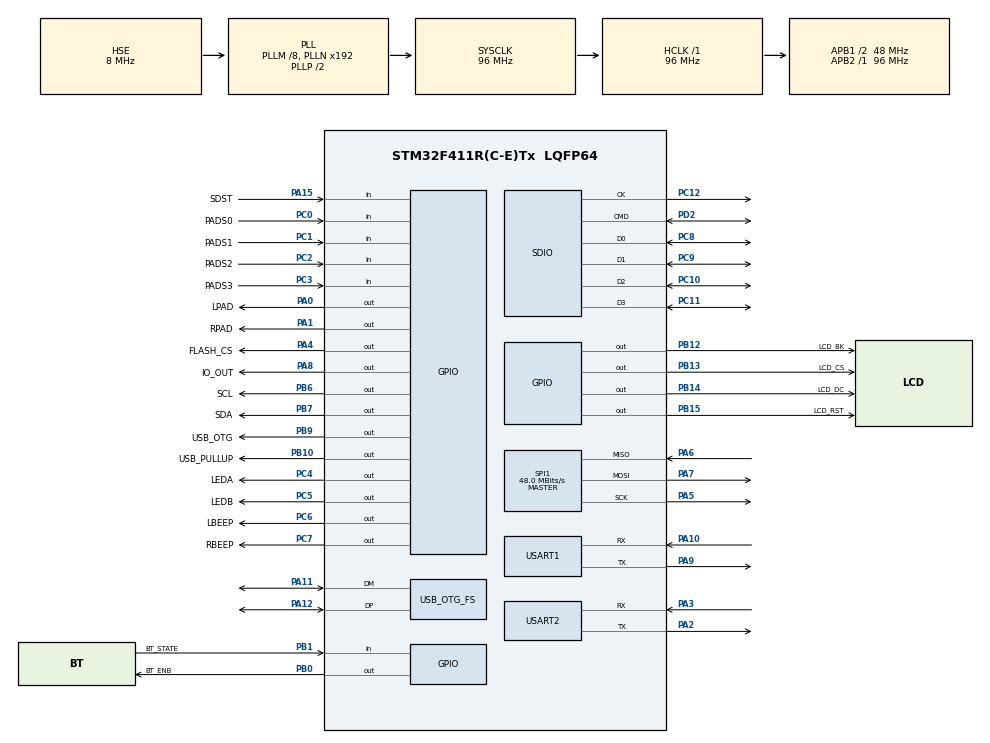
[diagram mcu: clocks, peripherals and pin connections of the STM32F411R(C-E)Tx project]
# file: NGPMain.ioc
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FATFS.BSP.number=1
FATFS0.BSP.STBoard=false
FATFS0.BSP.i2caddr=0
FATFS0.BSP.i2creg=0
FATFS0.BSP.instance=PA15
FATFS0.BSP.ip=GPIO
FATFS0.BSP.mode=Input
FATFS0.BSP.name=Detect_SDIO
Mcu.Family=STM32F4
Mcu.Name=STM32F411R(C-E)Tx
Mcu.Package=LQFP64
NVIC.OTG_FS_IRQn=true\:0\:0\:false\:false\:true
NVIC.PriorityGroup=NVIC_PRIORITYGROUP_4
NVIC.TIM1_UP_TIM10_IRQn=true\:0\:0\:false\:false\:true
PA0-WKUP.GPIO_Label=LPAD
PA0-WKUP.GPIO_Speed=GPIO_SPEED_FREQ_VERY_HIGH
PA0-WKUP.PinState=GPIO_PIN_RESET
PA0-WKUP.Signal=GPIO_Output
PA1.GPIO_Label=RPAD
PA1.GPIO_Speed=GPIO_SPEED_FREQ_VERY_HIGH
PA1.Signal=GPIO_Output
PA10.Mode=Asynchronous
PA10.Signal=USART1_RX
PA11.GPIO_PuPd=GPIO_NOPULL
PA11.Mode=Device_Only
PA11.Signal=USB_OTG_FS_DM
PA12.GPIO_PuPd=GPIO_NOPULL
PA12.Mode=Device_Only
PA12.Signal=USB_OTG_FS_DP
PA13.Mode=Serial_Wire
PA13.Signal=SYS_JTMS-SWDIO
PA14.Mode=Serial_Wire
PA14.Signal=SYS_JTCK-SWCLK
PA15.GPIO_Label=SDST
PA15.GPIO_PuPd=GPIO_PULLUP
PA15.Signal=GPIO_Input
PA2.Mode=Asynchronous
PA2.Signal=USART2_TX
PA3.Mode=Asynchronous
PA3.Signal=USART2_RX
PA4.GPIO_Label=FLASH_CS
PA4.GPIO_Speed=GPIO_SPEED_FREQ_VERY_HIGH
PA4.PinState=GPIO_PIN_SET
PA4.Signal=GPIO_Output
PA5.Mode=Full_Duplex_Master
PA5.Signal=SPI1_SCK
PA6.Mode=Full_Duplex_Master
PA6.Signal=SPI1_MISO
PA7.Mode=Full_Duplex_Master
PA7.Signal=SPI1_MOSI
PA8.GPIO_Label=IO_OUT
PA8.GPIO_Speed=GPIO_SPEED_FREQ_VERY_HIGH
PA8.Signal=GPIO_Output
PA9.Mode=Asynchronous
PA9.Signal=USART1_TX
PB0.GPIO_Label=BT_ENB
PB0.GPIO_Speed=GPIO_SPEED_FREQ_VERY_HIGH
PB0.PinState=GPIO_PIN_RESET
PB0.Signal=GPIO_Output
PB1.GPIO_Label=BT_STATE
PB1.GPIO_PuPd=GPIO_PULLUP
PB1.Signal=GPIO_Input
PB10.GPIO_Label=USB_PULLUP
PB10.GPIO_ModeDefaultOutputPP=GPIO_MODE_OUTPUT_PP
PB10.GPIO_PuPd=GPIO_NOPULL
PB10.GPIO_Speed=GPIO_SPEED_FREQ_VERY_HIGH
PB10.Signal=GPIO_Output
PB12.GPIO_Label=LCD_BK
PB12.GPIO_Speed=GPIO_SPEED_FREQ_VERY_HIGH
PB12.Signal=GPIO_Output
PB13.GPIO_Label=LCD_CS
PB13.GPIO_Speed=GPIO_SPEED_FREQ_VERY_HIGH
PB13.PinState=GPIO_PIN_SET
PB13.Signal=GPIO_Output
PB14.GPIO_Label=LCD_DC
PB14.GPIO_Speed=GPIO_SPEED_FREQ_VERY_HIGH
PB14.Signal=GPIO_Output
PB15.GPIO_Label=LCD_RST
PB15.GPIO_Speed=GPIO_SPEED_FREQ_VERY_HIGH
PB15.PinState=GPIO_PIN_SET
PB15.Signal=GPIO_Output
PB6.GPIO_Label=SCL
PB6.GPIO_Speed=GPIO_SPEED_FREQ_VERY_HIGH
PB6.Signal=GPIO_Output
PB7.GPIO_Label=SDA
PB7.GPIO_ModeDefaultOutputPP=GPIO_MODE_OUTPUT_OD
PB7.GPIO_Speed=GPIO_SPEED_FREQ_VERY_HIGH
PB7.Signal=GPIO_Output
PB9.GPIO_Label=USB_OTG
PB9.GPIO_Speed=GPIO_SPEED_FREQ_VERY_HIGH
PB9.PinState=GPIO_PIN_SET
PB9.Signal=GPIO_Output
PC0.GPIO_Label=PADS0
PC0.GPIO_PuPd=GPIO_PULLUP
PC0.Signal=GPIO_Input
PC1.GPIO_Label=PADS1
PC1.GPIO_PuPd=GPIO_PULLUP
PC1.Signal=GPIO_Input
PC10.Mode=SD_4_bits_Wide_bus
PC10.Signal=SDIO_D2
PC11.Mode=SD_4_bits_Wide_bus
PC11.Signal=SDIO_D3
PC12.Mode=SD_4_bits_Wide_bus
PC12.Signal=SDIO_CK
PC14-OSC32_IN.Mode=LSE-External-Oscillator
PC14-OSC32_IN.Signal=RCC_OSC32_IN
PC15-OSC32_OUT.Mode=LSE-External-Oscillator
PC15-OSC32_OUT.Signal=RCC_OSC32_OUT
PC2.GPIO_Label=PADS2
PC2.GPIO_PuPd=GPIO_PULLUP
PC2.Signal=GPIO_Input
PC3.GPIO_Label=PADS3
PC3.GPIO_PuPd=GPIO_PULLUP
PC3.Signal=GPIO_Input
PC4.GPIO_Label=LEDA
PC4.GPIO_Speed=GPIO_SPEED_FREQ_VERY_HIGH
PC4.Signal=GPIO_Output
PC5.GPIO_Label=LEDB
PC5.GPIO_Speed=GPIO_SPEED_FREQ_VERY_HIGH
PC5.Signal=GPIO_Output
PC6.GPIO_Label=LBEEP
PC6.GPIO_Speed=GPIO_SPEED_FREQ_VERY_HIGH
PC6.Signal=GPIO_Output
PC7.GPIO_Label=RBEEP
PC7.GPIO_Speed=GPIO_SPEED_FREQ_VERY_HIGH
PC7.Signal=GPIO_Output
PC8.Mode=SD_4_bits_Wide_bus
PC8.Signal=SDIO_D0
PC9.Mode=SD_4_bits_Wide_bus
PC9.Signal=SDIO_D1
PD2.Mode=SD_4_bits_Wide_bus
PD2.Signal=SDIO_CMD
PH0\ -\ OSC_IN.Mode=HSE-External-Oscillator
PH0\ -\ OSC_IN.Signal=RCC_OSC_IN
PH1\ -\ OSC_OUT.Mode=HSE-External-Oscillator
PH1\ -\ OSC_OUT.Signal=RCC_OSC_OUT
ProjectManager.HeapSize=0x200
ProjectManager.StackSize=0x400
ProjectManager.TargetToolchain=MDK-ARM V5
RCC.48MHZClocksFreq_Value=48000000
RCC.AHBFreq_Value=96000000
RCC.APB1CLKDivider=RCC_HCLK_DIV2
RCC.APB1Freq_Value=48000000
RCC.APB1TimFreq_Value=96000000
RCC.APB2Freq_Value=96000000
RCC.APB2TimFreq_Value=96000000
RCC.CortexFreq_Value=96000000
RCC.EnbaleCSS=true
RCC.HCLKFreq_Value=96000000
RCC.HSE_VALUE=8000000
RCC.HSI_VALUE=16000000
RCC.PLLM=8
RCC.SYSCLKFreq_VALUE=96000000
RCC.SYSCLKSource=RCC_SYSCLKSOURCE_PLLCLK
RCC.VCOOutputFreq_Value=192000000
SDIO.BusWide=SDIO_BUS_WIDE_1B
SDIO.ClockDiv=4
SDIO.WideMode=SDIO_BUS_WIDE_4B
SPI1.BaudRatePrescaler=SPI_BAUDRATEPRESCALER_2
SPI1.CalculateBaudRate=48.0 MBits/s
SPI1.Mode=SPI_MODE_MASTER
TIM10.Period=239
TIM10.Prescaler=4
USB_DEVICE.CONFIGURATION_STRING_MSC_FS=NGP Config
USB_DEVICE.INTERFACE_STRING_MSC_FS=NGP Interface
USB_DEVICE.MANUFACTURER_STRING=NSDN
USB_DEVICE.PRODUCT_STRING_MSC_FS=NyaGame Portable 32-bit
USB_DEVICE.SERIALNUMBER_STRING_MSC_FS=000000000032
USB_DEVICE.USBD_HandleTypeDef=hUsbDeviceFS
USB_DEVICE.USBD_SELF_POWERED=0
USB_DEVICE.USBD_SUPPORT_USER_STRING=1
USB_DEVICE.VirtualMode=Msc
USB_DEVICE.VirtualModeFS=Msc_FS
USB_OTG_FS.Sof_enable-Device_Only=ENABLE
USB_OTG_FS.VirtualMode=Device_Only
USB_OTG_FS.low_power_enable=DISABLE
USB_OTG_FS.vbus_sensing_enable=DISABLE
VP_FATFS_VS_SDIO.Mode=SDIO
VP_TIM10_VS_ClockSourceINT.Mode=Enable_Timer
VP_USB_DEVICE_VS_USB_DEVICE_MSC_FS.Mode=MSC_FS
board=NGPMain

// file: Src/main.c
/**
  ******************************************************************************
  * File Name          : main.c
  * Description        : Main program body
  ******************************************************************************
  *
  * Copyright (c) 2017 STMicroelectronics International N.V.
  * All rights reserved.
  *
  * Redistribution and use in source and binary forms, with or without
  * modification, are permitted, provided that the following conditions are met:
  *
  * 1. Redistribution of source code must retain the above copyright notice,
  *    this list of conditions and the following disclaimer.
  * 2. Redistributions in binary form must reproduce the above copyright notice,
  *    this list of conditions and the following disclaimer in the documentation
  *    and/or other materials provided with the distribution.
  * 3. Neither the name of STMicroelectronics nor the names of other
  *    contributors to this software may be used to endorse or promote products
  *    derived from this software without specific written permission.
  * 4. This software, including modifications and/or derivative works of this
  *    software, must execute solely and exclusively on microcontroller or
  *    microprocessor devices manufactured by or for STMicroelectronics.
  * 5. Redistribution and use of this software other than as permitted under
  *    this license is void and will automatically terminate your rights under
  *    this license.
  *
  * THIS SOFTWARE IS PROVIDED BY STMICROELECTRONICS AND CONTRIBUTORS "AS IS"
  * AND ANY EXPRESS, IMPLIED OR STATUTORY WARRANTIES, INCLUDING, BUT NOT
  * LIMITED TO, THE IMPLIED WARRANTIES OF MERCHANTABILITY, FITNESS FOR A
  * PARTICULAR PURPOSE AND NON-INFRINGEMENT OF THIRD PARTY INTELLECTUAL PROPERTY
  * RIGHTS ARE DISCLAIMED TO THE FULLEST EXTENT PERMITTED BY LAW. IN NO EVENT
  * SHALL STMICROELECTRONICS OR CONTRIBUTORS BE LIABLE FOR ANY DIRECT, INDIRECT,
  * INCIDENTAL, SPECIAL, EXEMPLARY, OR CONSEQUENTIAL DAMAGES (INCLUDING, BUT NOT
  * LIMITED TO, PROCUREMENT OF SUBSTITUTE GOODS OR SERVICES; LOSS OF USE, DATA,
  * OR PROFITS; OR BUSINESS INTERRUPTION) HOWEVER CAUSED AND ON ANY THEORY OF
  * LIABILITY, WHETHER IN CONTRACT, STRICT LIABILITY, OR TORT (INCLUDING
  * NEGLIGENCE OR OTHERWISE) ARISING IN ANY WAY OUT OF THE USE OF THIS SOFTWARE,
  * EVEN IF ADVISED OF THE POSSIBILITY OF SUCH DAMAGE.
  *
  ******************************************************************************
  */
#include "main.h"
#include "stm32f4xx_hal.h"
#include "fatfs.h"
#include "usb_device.h"

/* USER CODE BEGIN Includes */
#include "usbd_core.h"

#include "IRQ.h"
#include "OLED.h"
#include "LCD.h"
#include "Keypad.h"
#include "Beeper.h"
#include "Flash.h"
/* USER CODE END Includes */

SD_HandleTypeDef hsd;
HAL_SD_CardInfoTypedef SDCardInfo;

SPI_HandleTypeDef hspi1;

TIM_HandleTypeDef htim10;

UART_HandleTypeDef huart1;
UART_HandleTypeDef huart2;

/* USER CODE BEGIN PV */
/* Private variables ---------------------------------------------------------*/
	LCD* lcd;
	Flash* flash;
	static uint8_t sdOK = 0;
	static uint8_t index = 0;
	static uint8_t music = 0;

	const uint8_t cmusic = 7;

	FATFS fileSystem;
	FIL testFile;
	uint8_t testBuffer[16] = "Hello Gensokyo!\0";
	UINT testBytes;
	FRESULT res;
/* USER CODE END PV */

void SystemClock_Config(void);
void Error_Handler(void);
static void MX_GPIO_Init(void);
static void MX_SDIO_SD_Init(void);
static void MX_SPI1_Init(void);
static void MX_TIM10_Init(void);
static void MX_USART1_UART_Init(void);
static void MX_USART2_UART_Init(void);

/* USER CODE BEGIN PFP */
/* Private function prototypes -----------------------------------------------*/

/** STG Begin *********************************************************************/

#define STG_BACK 1
#define STG_MAIN 2
#define STG_COLORB 0x000000

#define RANGE_X1 4
#define RANGE_Y1 4
#define RANGE_X2 92
#define RANGE_Y2 123

void onInitPlayer(void);
void onUpdatePlayer(void);
struct Player {
	uint32_t color;
	uint8_t size;
	double x;
	double y;
	double prevX;
	double prevY;
	void (*onInit)();
	void (*onUpdate)();
} player = { 0xFF9800, 1,
	(RANGE_X2 + RANGE_X1) / 2, 108,
	(RANGE_X2 + RANGE_X1) / 2, 108,
	&onInitPlayer,
	&onUpdatePlayer
};
void onInitPlayer() {
	player.x = (RANGE_X2 + RANGE_X1) / 2;
	player.y = 108;
}
void onUpdatePlayer() {
	player.prevX = player.x; player.prevY = player.y;
	if (checkKey(LPAD_LEFT)) { player.x -= 0.4; }
	if (checkKey(LPAD_RIGHT)) { player.x += 0.4; }
	if (checkKey(LPAD_UP)) { player.y -= 0.4; }
	if (checkKey(LPAD_DOWN)) { player.y += 0.4; }

	if (player.x > RANGE_X2 - player.size) player.x = RANGE_X2 - player.size;
	if (player.x < RANGE_X1 + player.size) player.x = RANGE_X1 + player.size;
	if (player.y > RANGE_Y2 - player.size) player.y = RANGE_Y2 - player.size;
	if (player.y < RANGE_Y1 + player.size) player.y = RANGE_Y1 + player.size;

	if ((char) player.x != (char) player.prevX || (char) player.y != (char) player.prevY) {
		lcd->colorf(lcd->p, STG_COLORB);
		lcd->rect(lcd->p,
			player.prevX - player.size, player.prevY - player.size,
			player.prevX + player.size, player.prevY + player.size,
			1
		);
	}
	lcd->colorf(lcd->p, player.color);
	lcd->rect(lcd->p,
		player.x - player.size, player.y - player.size,
		player.x + player.size, player.y + player.size,
		1
	);
}

void STG(uint8_t type) {
	if (type == STG_BACK) {
		lcd->colorf(lcd->p, 0xFFFFFF);
		lcd->rect(lcd->p, RANGE_X1 - 4, RANGE_Y1 - 4, RANGE_X2 + 4, RANGE_Y2 + 4, 1);
		lcd->colorf(lcd->p, STG_COLORB);
		lcd->rect(lcd->p, RANGE_X1 - 2, RANGE_Y1 - 2, RANGE_X2 + 2, RANGE_Y2 + 2, 1);
		lcd->colorf(lcd->p, 0xFFFFFF);
		lcd->rect(lcd->p, RANGE_X1 - 1, RANGE_Y1 - 1, RANGE_X2 + 1, RANGE_Y2 + 1, 0);
		lcd->colorf(lcd->p, 0x7986CB);
		lcd->font(lcd->p, Big);
		lcd->draw(lcd->p, RANGE_X2 + 12, RANGE_Y1 + 4, 'T');
		lcd->draw(lcd->p, RANGE_X2 + 12 + 8, RANGE_Y1 + 4, 'H');
		lcd->font(lcd->p, Small);
		lcd->colorf(lcd->p, 0xFFFFFF);

		player.onInit();
	} else if (type == STG_MAIN) {
		player.onUpdate();
	}
}

/** STG End ***********************************************************************/

/* USER CODE END PFP */

/* USER CODE BEGIN 0 */
void checkSD() {
	if (HAL_GPIO_ReadPin(SDST_GPIO_Port, SDST_Pin) == GPIO_PIN_RESET && sdOK == 0) {
		HAL_SD_Init(&hsd, &SDCardInfo);
		sdOK = 1;
	} else if (HAL_GPIO_ReadPin(SDST_GPIO_Port, SDST_Pin) == GPIO_PIN_SET && sdOK == 1) {
		HAL_SD_DeInit(&hsd);
		sdOK = 0;
	}
	if (sdOK == 1) {
		lcd->colorb(lcd->p, 0x66CCFF);
		lcd->colorf(lcd->p, 0x000000);
		lcd->print(lcd->p, 113, 118, "SD");
		lcd->colorf(lcd->p, 0x66CCFF);
		lcd->rect(lcd->p, 113, 117, 125, 125, 0);
		lcd->colorb(lcd->p, 0x000000);
		lcd->colorf(lcd->p, 0xFFFFFF);
	} else {
		lcd->p->foreColor = lcd->p->backColor;
		lcd->rect(lcd->p, 113, 117, 125, 125, 1);
		lcd->colorf(lcd->p, 0xFFFFFF);
	}
}
/* USER CODE END 0 */

int main(void)
{

  /* MCU Configuration----------------------------------------------------------*/

  /* Reset of all peripherals, Initializes the Flash interface and the Systick. */
  HAL_Init();

  /* Configure the system clock */
  SystemClock_Config();

  /* Initialize all configured peripherals */
  MX_GPIO_Init();
  MX_SDIO_SD_Init();
  MX_SPI1_Init();
  MX_TIM10_Init();
  MX_USART1_UART_Init();
  MX_USART2_UART_Init();
  MX_FATFS_Init();
  MX_USB_DEVICE_Init();

  /* USER CODE BEGIN 2 */
	USBD_Stop(&hUsbDeviceFS);

	if (HAL_GPIO_ReadPin(SDST_GPIO_Port, SDST_Pin) == GPIO_PIN_RESET && sdOK == 0) {
		HAL_SD_Init(&hsd, &SDCardInfo);
		sdOK = 1;
	} else if (HAL_GPIO_ReadPin(SDST_GPIO_Port, SDST_Pin) == GPIO_PIN_SET && sdOK == 1) {
		HAL_SD_DeInit(&hsd);
		sdOK = 0;
	}

	HAL_Delay(500);

	flash = FlashInit(&hspi1,
			FLASH_CS_GPIO_Port, FLASH_CS_Pin, W25Q64);

	lcd = LCDInit(&hspi1,
			LCD_DC_GPIO_Port, LCD_DC_Pin,
			LCD_CS_GPIO_Port, LCD_CS_Pin,
			LCD_RST_GPIO_Port, LCD_RST_Pin,
			LCD_BK_GPIO_Port, LCD_BK_Pin);

	lcd->reset(lcd->p);

	lcd->init(lcd->p);
	lcd->colorb(lcd->p, 0xFFFFFF);
	lcd->colorf(lcd->p, 0x000000);
	lcd->clear(lcd->p);
	lcd->bitmapsc(lcd->p, 63, 63, 64, 64, __NYAGAME_LOGO_);
	HAL_Delay(2000);
	lcd->colorb(lcd->p, 0x000000);
	lcd->colorf(lcd->p, 0xFFFFFF);
	lcd->clear(lcd->p);

	HAL_GPIO_WritePin(LEDA_GPIO_Port, LEDA_Pin, GPIO_PIN_RESET);
	HAL_GPIO_WritePin(LEDB_GPIO_Port, LEDB_Pin, GPIO_PIN_SET);

	{

		f_mount(&fileSystem, SD_Path, 1);
		if(f_mount(&fileSystem, SD_Path, 1) == FR_OK) {
			uint8_t path[13] = "NYA_GAME.TXT";
			path[12] = '\0';

			res = f_open(&testFile, (char*)path, FA_WRITE | FA_CREATE_ALWAYS);

			res = f_write(&testFile, testBuffer, 16, &testBytes);

			res = f_close(&testFile);
		}

	}
	HAL_GPIO_WritePin(USB_PULLUP_GPIO_Port, USB_PULLUP_Pin, GPIO_PIN_SET);
	USBD_Start(&hUsbDeviceFS);
  /* USER CODE END 2 */

  /* Infinite loop */
  /* USER CODE BEGIN WHILE */
  while (1)
  {
	  if (index < 10) {
			/* MENU BUILD BEGIN */
			lcd->colorb(lcd->p, 0x000000);
			lcd->colorf(lcd->p, 0xFF9800);
			lcd->printfc(lcd->p, 8, "MENU");
			lcd->colorb(lcd->p, 0x000000);
			lcd->colorf(lcd->p, 0xFFFFFF);
			lcd->printfc(lcd->p, 24, "W25Q64 Test");
			lcd->printfc(lcd->p, 32, "STG Sample");
			lcd->printfc(lcd->p, 40, "Flash Test");
			lcd->printfc(lcd->p, 48, "NSDN-Beeper");
			lcd->printfc(lcd->p, 56, "About this NGP");

			lcd->draw(lcd->p, 10, (index + 2) * 8, ' ');
			lcd->draw(lcd->p, 10, (index + 3) * 8, '>');
			lcd->draw(lcd->p, 10, (index + 4) * 8, ' ');
			lcd->draw(lcd->p, 112, (index + 2) * 8, ' ');
			lcd->draw(lcd->p, 112, (index + 3) * 8, '<');
			lcd->draw(lcd->p, 112, (index + 4) * 8, ' ');

			if (waitKeyUp(LPAD_UP)) index = ((index > 0) ? index - 1 : 0);
			if (waitKeyUp(LPAD_DOWN)) index = ((index < 4) ? index + 1 : 4);
			if (waitKeyUp(RPAD_UP)) {
				index += 10;
				lcd->clear(lcd->p);

				switch (index) {
				 	case 10:
						break;
					case 11:
						STG(STG_BACK);
						break;
					case 12:
						break;
					case 13:
						HAL_TIM_Base_Start_IT(&htim10);
						setVolume(2);
						music = 0;
						break;
					case 14:
						lcd->colorb(lcd->p, 0xFFFFFF);
						lcd->colorf(lcd->p, 0x000000);
						lcd->clear(lcd->p);
						break;
					default:
						break;
				}
			}
		} else if (index < 20) {
			switch (index) {
				case 10:
					lcd->colorb(lcd->p, 0x000000);
					lcd->colorf(lcd->p, 0xFF9800);
					lcd->printfc(lcd->p, 8, "W25Q64 Test");
					lcd->colorb(lcd->p, 0x000000);
					lcd->colorf(lcd->p, 0xFFFFFF);
					lcd->printfc(lcd->p, 48, "Init W25Q64...");
					uint8_t result, manuf, buf;
					result = flash->begin(flash->p);
					manuf = flash->readManufacturer(flash->p);
					flash->read(flash->p, 0x00000000, &buf, 1);
					flash->end(flash->p);
					lcd->printfc(lcd->p, 64, "Result: %X", result);
					lcd->printfc(lcd->p, 72, "Manuf: %X", manuf);
					lcd->printfc(lcd->p, 80, "Buf: %X", buf);
					break;
				case 11:
					STG(STG_MAIN);
					break;
				case 12:
					lcd->colorb(lcd->p, 0x000000);
					lcd->colorf(lcd->p, 0xFF9800);
					lcd->printfc(lcd->p, 8, "Flash Test");
					lcd->colorb(lcd->p, 0x000000);
					lcd->colorf(lcd->p, 0x3F51B5);
					lcd->printfc(lcd->p, 24, "Flashing: 0x3F51B5");
					lcd->rect(lcd->p, 16, 48, 112, 112, 1);
					lcd->colorf(lcd->p, 0xB10000);
					lcd->printfc(lcd->p, 24, "Flashing: 0xB10000");
					lcd->rect(lcd->p, 16, 48, 112, 112, 1);
					lcd->colorf(lcd->p, 0xFFFFFF);
					break;
				case 13:
					lcd->colorb(lcd->p, 0x000000);
					lcd->colorf(lcd->p, 0xFF9800);
					lcd->printfc(lcd->p, 8, "NSDN-Beeper");
					lcd->colorb(lcd->p, 0x000000);
					lcd->colorf(lcd->p, 0xFFFFFF);
					lcd->printfc(lcd->p, 32, "NOW Playing...");
					lcd->printfc(lcd->p, 48, "%d of %d", cmusic, music + 1);
					switch (music) {
						case 0:
							lcd->printfc(lcd->p, 64, "Septet for");
							lcd->printfc(lcd->p, 72, "the Dead Princess");
							playMusicWithSpace(SYMBOL, MID_remilia, MID_remilia_LENGTH, 233, 16, 1);
							break;
						case 1:
							lcd->printfc(lcd->p, 64, "The Way of Doom God");
							lcd->printfc(lcd->p, 72, "- Dark Road -");
							playMusicWithSpace(SYMBOL, MID_hina, MID_hina_LENGTH, 233, 16, 1);
							break;
						case 2:
							lcd->printfc(lcd->p, 64, "Romantic Escape");
							lcd->printfc(lcd->p, 72, "Flight & Foul for");
							lcd->printfc(lcd->p, 80, "Impossible Bullets");
							playMusicWithSpace(SYMBOL, MID_seija, MID_seija_LENGTH, 233, 16, 1);
							break;
						case 3:
							lcd->printfc(lcd->p, 64, "Lively and Innocent");
							lcd->printfc(lcd->p, 72, "Girl (9)");
							playMusicWithSpace(SYMBOL, MID_9, MID_9_LENGTH, 233, 16, 1);
							break;
						case 4:
							lcd->printfc(lcd->p, 64, "Broken Moon");
							playMusicWithSpace(SYMBOL, MUSIC, MUSIC_LENGTH, 233, 16, 1);
							break;
						case 5:
							lcd->printfc(lcd->p, 64, "U.N. Owen was her?");
							playMusicWithSpace(SYMBOL, MID_U_N_Owen_was_her, MID_U_N_Owen_was_her_LENGTH, 128, 16, 1);
							break;
						case 6:
							lcd->printfc(lcd->p, 64, "Staking Your Life");
							lcd->printfc(lcd->p, 72, "on a Prank");
							playMusicWithSpace(SYMBOL, MID_Staking_Your_Life_on_a_Prank, MID_Staking_Your_Life_on_a_Prank_LENGTH, 192, 8, 1);
							break;
					}
					break;
				case 14:
					lcd->colorb(lcd->p, 0xFFFFFF);
					lcd->colorf(lcd->p, 0x000000);
					lcd->bitmapsc(lcd->p, 63, 48, 64, 64, __NYAGAME_LOGO_);
					lcd->printfc(lcd->p, 86, "NyaGame Portable");
					lcd->printfc(lcd->p, 98, "dev161229");
					break;
				default:
					break;
			}

			if (index == 11) {
				if (waitKeyUp(RPAD_DOWN)) {
					index -= 10;
					lcd->colorb(lcd->p, 0x000000);
					lcd->colorf(lcd->p, 0xFF9800);
					lcd->clear(lcd->p);
				}
			}
			if (index != 13 && index != 11) {
				if (waitKeyUp(RPAD_RIGHT)) {
					index -= 10;
					lcd->colorb(lcd->p, 0x000000);
					lcd->colorf(lcd->p, 0xFF9800);
					lcd->clear(lcd->p);

					switch (index) {
						case 10:
							break;
						case 11:
							break;
						case 12:
							break;
						case 13:
							HAL_TIM_Base_Start_IT(&htim10);
							setVolume(2);
							break;
						case 14:
							break;
						default:
							break;
					}
				}
			}
		} else {
			index = 0;
			lcd->clear(lcd->p);
		}
  /* USER CODE END WHILE */

  /* USER CODE BEGIN 3 */
		HAL_GPIO_TogglePin(LEDA_GPIO_Port, LEDA_Pin);
		HAL_GPIO_TogglePin(LEDB_GPIO_Port, LEDB_Pin);
		checkSD();
  }
  /* USER CODE END 3 */

}

/** System Clock Configuration
*/
void SystemClock_Config(void)
{

  RCC_OscInitTypeDef RCC_OscInitStruct;
  RCC_ClkInitTypeDef RCC_ClkInitStruct;

    /**Configure the main internal regulator output voltage
    */
  __HAL_RCC_PWR_CLK_ENABLE();

  __HAL_PWR_VOLTAGESCALING_CONFIG(PWR_REGULATOR_VOLTAGE_SCALE1);

    /**Initializes the CPU, AHB and APB busses clocks
    */
  RCC_OscInitStruct.OscillatorType = RCC_OSCILLATORTYPE_HSE;
  RCC_OscInitStruct.HSEState = RCC_HSE_ON;
  RCC_OscInitStruct.PLL.PLLState = RCC_PLL_ON;
  RCC_OscInitStruct.PLL.PLLSource = RCC_PLLSOURCE_HSE;
  RCC_OscInitStruct.PLL.PLLM = 8;
  RCC_OscInitStruct.PLL.PLLN = 192;
  RCC_OscInitStruct.PLL.PLLP = RCC_PLLP_DIV2;
  RCC_OscInitStruct.PLL.PLLQ = 4;
  if (HAL_RCC_OscConfig(&RCC_OscInitStruct) != HAL_OK)
  {
    Error_Handler();
  }

    /**Initializes the CPU, AHB and APB busses clocks
    */
  RCC_ClkInitStruct.ClockType = RCC_CLOCKTYPE_HCLK|RCC_CLOCKTYPE_SYSCLK
                              |RCC_CLOCKTYPE_PCLK1|RCC_CLOCKTYPE_PCLK2;
  RCC_ClkInitStruct.SYSCLKSource = RCC_SYSCLKSOURCE_PLLCLK;
  RCC_ClkInitStruct.AHBCLKDivider = RCC_SYSCLK_DIV1;
  RCC_ClkInitStruct.APB1CLKDivider = RCC_HCLK_DIV2;
  RCC_ClkInitStruct.APB2CLKDivider = RCC_HCLK_DIV1;

  if (HAL_RCC_ClockConfig(&RCC_ClkInitStruct, FLASH_LATENCY_3) != HAL_OK)
  {
    Error_Handler();
  }

    /**Enables the Clock Security System
    */
  HAL_RCC_EnableCSS();

    /**Configure the Systick interrupt time
    */
  HAL_SYSTICK_Config(HAL_RCC_GetHCLKFreq()/1000);

    /**Configure the Systick
    */
  HAL_SYSTICK_CLKSourceConfig(SYSTICK_CLKSOURCE_HCLK);

  /* SysTick_IRQn interrupt configuration */
  HAL_NVIC_SetPriority(SysTick_IRQn, 0, 0);
}

/* SDIO init function */
static void MX_SDIO_SD_Init(void)
{

  hsd.Instance = SDIO;
  hsd.Init.ClockEdge = SDIO_CLOCK_EDGE_RISING;
  hsd.Init.ClockBypass = SDIO_CLOCK_BYPASS_DISABLE;
  hsd.Init.ClockPowerSave = SDIO_CLOCK_POWER_SAVE_DISABLE;
  hsd.Init.BusWide = SDIO_BUS_WIDE_1B;
  hsd.Init.HardwareFlowControl = SDIO_HARDWARE_FLOW_CONTROL_DISABLE;
  hsd.Init.ClockDiv = 4;

}

/* SPI1 init function */
static void MX_SPI1_Init(void)
{

  hspi1.Instance = SPI1;
  hspi1.Init.Mode = SPI_MODE_MASTER;
  hspi1.Init.Direction = SPI_DIRECTION_2LINES;
  hspi1.Init.DataSize = SPI_DATASIZE_8BIT;
  hspi1.Init.CLKPolarity = SPI_POLARITY_LOW;
  hspi1.Init.CLKPhase = SPI_PHASE_1EDGE;
  hspi1.Init.NSS = SPI_NSS_SOFT;
  hspi1.Init.BaudRatePrescaler = SPI_BAUDRATEPRESCALER_2;
  hspi1.Init.FirstBit = SPI_FIRSTBIT_MSB;
  hspi1.Init.TIMode = SPI_TIMODE_DISABLE;
  hspi1.Init.CRCCalculation = SPI_CRCCALCULATION_DISABLE;
  hspi1.Init.CRCPolynomial = 10;
  if (HAL_SPI_Init(&hspi1) != HAL_OK)
  {
    Error_Handler();
  }

}

/* TIM10 init function */
static void MX_TIM10_Init(void)
{

  htim10.Instance = TIM10;
  htim10.Init.Prescaler = 4;
  htim10.Init.CounterMode = TIM_COUNTERMODE_UP;
  htim10.Init.Period = 239;
  htim10.Init.ClockDivision = TIM_CLOCKDIVISION_DIV1;
  if (HAL_TIM_Base_Init(&htim10) != HAL_OK)
  {
    Error_Handler();
  }

}

/* USART1 init function */
static void MX_USART1_UART_Init(void)
{

  huart1.Instance = USART1;
  huart1.Init.BaudRate = 115200;
  huart1.Init.WordLength = UART_WORDLENGTH_8B;
  huart1.Init.StopBits = UART_STOPBITS_1;
  huart1.Init.Parity = UART_PARITY_NONE;
  huart1.Init.Mode = UART_MODE_TX_RX;
  huart1.Init.HwFlowCtl = UART_HWCONTROL_NONE;
  huart1.Init.OverSampling = UART_OVERSAMPLING_16;
  if (HAL_UART_Init(&huart1) != HAL_OK)
  {
    Error_Handler();
  }

}

/* USART2 init function */
static void MX_USART2_UART_Init(void)
{

  huart2.Instance = USART2;
  huart2.Init.BaudRate = 115200;
  huart2.Init.WordLength = UART_WORDLENGTH_8B;
  huart2.Init.StopBits = UART_STOPBITS_1;
  huart2.Init.Parity = UART_PARITY_NONE;
  huart2.Init.Mode = UART_MODE_TX_RX;
  huart2.Init.HwFlowCtl = UART_HWCONTROL_NONE;
  huart2.Init.OverSampling = UART_OVERSAMPLING_16;
  if (HAL_UART_Init(&huart2) != HAL_OK)
  {
    Error_Handler();
  }

}

/** Configure pins as
        * Analog
        * Input
        * Output
        * EVENT_OUT
        * EXTI
*/
static void MX_GPIO_Init(void)
{

  GPIO_InitTypeDef GPIO_InitStruct;

  /* GPIO Ports Clock Enable */
  __HAL_RCC_GPIOC_CLK_ENABLE();
  __HAL_RCC_GPIOH_CLK_ENABLE();
  __HAL_RCC_GPIOA_CLK_ENABLE();
  __HAL_RCC_GPIOB_CLK_ENABLE();
  __HAL_RCC_GPIOD_CLK_ENABLE();

  /*Configure GPIO pins : PADS0_Pin PADS1_Pin PADS2_Pin PADS3_Pin */
  GPIO_InitStruct.Pin = PADS0_Pin|PADS1_Pin|PADS2_Pin|PADS3_Pin;
  GPIO_InitStruct.Mode = GPIO_MODE_INPUT;
  GPIO_InitStruct.Pull = GPIO_PULLUP;
  HAL_GPIO_Init(GPIOC, &GPIO_InitStruct);

  /*Configure GPIO pins : LPAD_Pin RPAD_Pin FLASH_CS_Pin IO_OUT_Pin */
  GPIO_InitStruct.Pin = LPAD_Pin|RPAD_Pin|FLASH_CS_Pin|IO_OUT_Pin;
  GPIO_InitStruct.Mode = GPIO_MODE_OUTPUT_PP;
  GPIO_InitStruct.Pull = GPIO_NOPULL;
  GPIO_InitStruct.Speed = GPIO_SPEED_FREQ_VERY_HIGH;
  HAL_GPIO_Init(GPIOA, &GPIO_InitStruct);

  /*Configure GPIO pins : LEDA_Pin LEDB_Pin LBEEP_Pin RBEEP_Pin */
  GPIO_InitStruct.Pin = LEDA_Pin|LEDB_Pin|LBEEP_Pin|RBEEP_Pin;
  GPIO_InitStruct.Mode = GPIO_MODE_OUTPUT_PP;
  GPIO_InitStruct.Pull = GPIO_NOPULL;
  GPIO_InitStruct.Speed = GPIO_SPEED_FREQ_VERY_HIGH;
  HAL_GPIO_Init(GPIOC, &GPIO_InitStruct);

  /*Configure GPIO pins : BT_ENB_Pin USB_PULLUP_Pin LCD_BK_Pin LCD_CS_Pin
                           LCD_DC_Pin LCD_RST_Pin SCL_Pin USB_OTG_Pin */
  GPIO_InitStruct.Pin = BT_ENB_Pin|USB_PULLUP_Pin|LCD_BK_Pin|LCD_CS_Pin
                          |LCD_DC_Pin|LCD_RST_Pin|SCL_Pin|USB_OTG_Pin;
  GPIO_InitStruct.Mode = GPIO_MODE_OUTPUT_PP;
  GPIO_InitStruct.Pull = GPIO_NOPULL;
  GPIO_InitStruct.Speed = GPIO_SPEED_FREQ_VERY_HIGH;
  HAL_GPIO_Init(GPIOB, &GPIO_InitStruct);

  /*Configure GPIO pin : BT_STATE_Pin */
  GPIO_InitStruct.Pin = BT_STATE_Pin;
  GPIO_InitStruct.Mode = GPIO_MODE_INPUT;
  GPIO_InitStruct.Pull = GPIO_PULLUP;
  HAL_GPIO_Init(BT_STATE_GPIO_Port, &GPIO_InitStruct);

  /*Configure GPIO pin : SDST_Pin */
  GPIO_InitStruct.Pin = SDST_Pin;
  GPIO_InitStruct.Mode = GPIO_MODE_INPUT;
  GPIO_InitStruct.Pull = GPIO_PULLUP;
  HAL_GPIO_Init(SDST_GPIO_Port, &GPIO_InitStruct);

  /*Configure GPIO pin : SDA_Pin */
  GPIO_InitStruct.Pin = SDA_Pin;
  GPIO_InitStruct.Mode = GPIO_MODE_OUTPUT_OD;
  GPIO_InitStruct.Pull = GPIO_NOPULL;
  GPIO_InitStruct.Speed = GPIO_SPEED_FREQ_VERY_HIGH;
  HAL_GPIO_Init(SDA_GPIO_Port, &GPIO_InitStruct);

  /*Configure GPIO pin Output Level */
  HAL_GPIO_WritePin(GPIOA, LPAD_Pin|RPAD_Pin|IO_OUT_Pin, GPIO_PIN_RESET);

  /*Configure GPIO pin Output Level */
  HAL_GPIO_WritePin(FLASH_CS_GPIO_Port, FLASH_CS_Pin, GPIO_PIN_SET);

  /*Configure GPIO pin Output Level */
  HAL_GPIO_WritePin(GPIOC, LEDA_Pin|LEDB_Pin|LBEEP_Pin|RBEEP_Pin, GPIO_PIN_RESET);

  /*Configure GPIO pin Output Level */
  HAL_GPIO_WritePin(GPIOB, BT_ENB_Pin|USB_PULLUP_Pin|LCD_BK_Pin|LCD_DC_Pin
                          |SCL_Pin|SDA_Pin, GPIO_PIN_RESET);

  /*Configure GPIO pin Output Level */
  HAL_GPIO_WritePin(GPIOB, LCD_CS_Pin|LCD_RST_Pin|USB_OTG_Pin, GPIO_PIN_SET);

}

/* USER CODE BEGIN 4 */

void TIM_IRQ_Callback(TIM_HandleTypeDef *htim)
{
	if (htim->Instance == TIM10) {
		if (index == 13) {
			if (waitKeyUp(RPAD_RIGHT)) {
				jumpOut();
				index -= 10;
				lcd->colorb(lcd->p, 0x000000);
				lcd->clear(lcd->p);
				HAL_TIM_Base_Stop_IT(&htim10);
				HAL_GPIO_WritePin(LBEEP_GPIO_Port, LBEEP_Pin, GPIO_PIN_RESET);
				HAL_GPIO_WritePin(RBEEP_GPIO_Port, RBEEP_Pin, GPIO_PIN_RESET);
			}
			if (waitKeyUp(LPAD_UP)) {
				if (music > 0) music -= 1;
				else music = cmusic - 1;
				jumpOut();
				lcd->colorb(lcd->p, 0x000000);
				lcd->clear(lcd->p);
			} else if (waitKeyUp(LPAD_DOWN)) {
				if (music < cmusic - 1) music += 1;
				else music = 0;
				jumpOut();
				lcd->colorb(lcd->p, 0x000000);
				lcd->clear(lcd->p);
			}
		}
		beeperInerrupt();
	}

}

/* USER CODE END 4 */

void Error_Handler(void)
{
  while(1)
  {
  }
}

/************************ (C) COPYRIGHT STMicroelectronics *****END OF FILE****/
